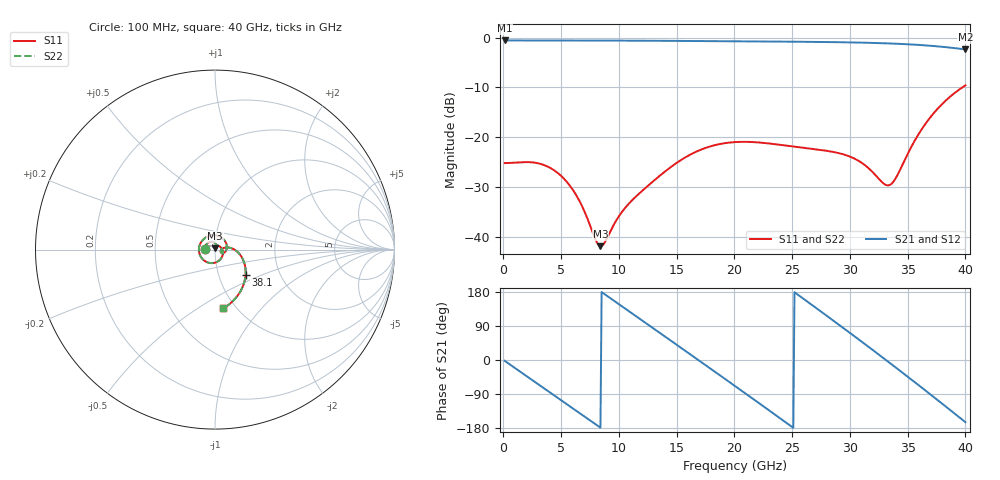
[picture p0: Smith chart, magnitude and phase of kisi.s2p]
! C_s8_nonfp: L1→L8, antipad Ø0.9, non-functional pads removed
! stackup: 8-layer 1.6 mm FR-4 (generic)
! ports: 1, 2
! kisi-fdtd, conformal, dfine 0.035 mm, 637065 cells
# Hz S RI R 50
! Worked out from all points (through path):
!   400 points, 100 MHz to 40 GHz, reference 50 ohm
!   highest |S21| = -0.57 dB at 100 MHz (marker M1); lowest = -2.4 dB at 40 GHz (marker M2)
!   group delay of S21, straight-line fit = 60.9 ps
!   lowest |S11| = -41.9 dB at 8.4 GHz (marker M3), VSWR 1.02, Z = 50 + j0.803 ohm
!   |S11| at or under -10 dB: start of sweep to 39.74 GHz
!   |S22| runs from -41.9 to -9.6 dB; largest |S21 - S12| = 2e-07
!   S11 on the Smith chart (normalised r, x): 100 MHz: 0.90, +0.00; 38.1 GHz: 1.34, -0.40; 40 GHz: 0.88, -0.64
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1e8  -0.0549 0.00108  0.9362 -0.0347  0.9362 -0.0347  -0.0549 0.00108
1.7e9  -0.0523 0.0205  0.7568 -0.552  0.7568 -0.552  -0.0523 0.0205
3.6e9  -0.0304 0.0422  0.2192 -0.9103  0.2192 -0.9103  -0.0304 0.0422
5.1e9  -0.00415 0.0395  -0.2945 -0.8885  -0.2945 -0.8885  -0.00415 0.0395
6.8e9  0.00809 0.0187  -0.7617 -0.5432  -0.7617 -0.5432  0.00809 0.0187
8.4e9  0.000111 0.00803  -0.9345 -0.0229  -0.9345 -0.0229  0.000111 0.00803
1.12e10  0.00742 0.0224  -0.489 0.794  -0.489 0.794  0.00742 0.0224
1.34e10  0.0397 0.00199  0.2478 0.8961  0.2478 0.8961  0.0397 0.00199
1.52e10  0.0378 -0.0429  0.7507 0.544  0.7507 0.544  0.0378 -0.0429
1.68e10  0.00164 -0.0724  0.9242 0.0247  0.9242 0.0247  0.00164 -0.0724
1.83e10  -0.0452 -0.0697  0.792 -0.4722  0.792 -0.4722  -0.0452 -0.0697
2.01e10  -0.0846 -0.0287  0.3182 -0.8623  0.3182 -0.8623  -0.0846 -0.0287
2.19e10  -0.0845 0.0272  -0.2962 -0.867  -0.2962 -0.867  -0.0845 0.0272
2.39e10  -0.0447 0.071  -0.8102 -0.4201  -0.8102 -0.4201  -0.0447 0.071
2.67e10  0.032 0.0693  -0.748 0.5126  -0.748 0.5126  0.032 0.0693
2.83e10  0.0608 0.0384  -0.3065 0.8487  -0.3065 0.8487  0.0608 0.0384
2.98e10  0.065 0.00335  0.216 0.8704  0.216 0.8704  0.065 0.00335
3.17e10  0.0433 -0.0203  0.746 0.4801  0.746 0.4801  0.0433 -0.0203
3.34e10  0.0324 -0.00577  0.8689 -0.099  0.8689 -0.099  0.0324 -0.00577
3.59e10  0.1051 0.00166  0.3543 -0.7681  0.3543 -0.7681  0.1051 0.00166
3.81e10  0.1704 -0.1419  -0.3777 -0.7132  -0.3777 -0.7132  0.1704 -0.1419
4e10  0.0459 -0.3276  -0.7312 -0.2093  -0.7312 -0.2093  0.0459 -0.3276
